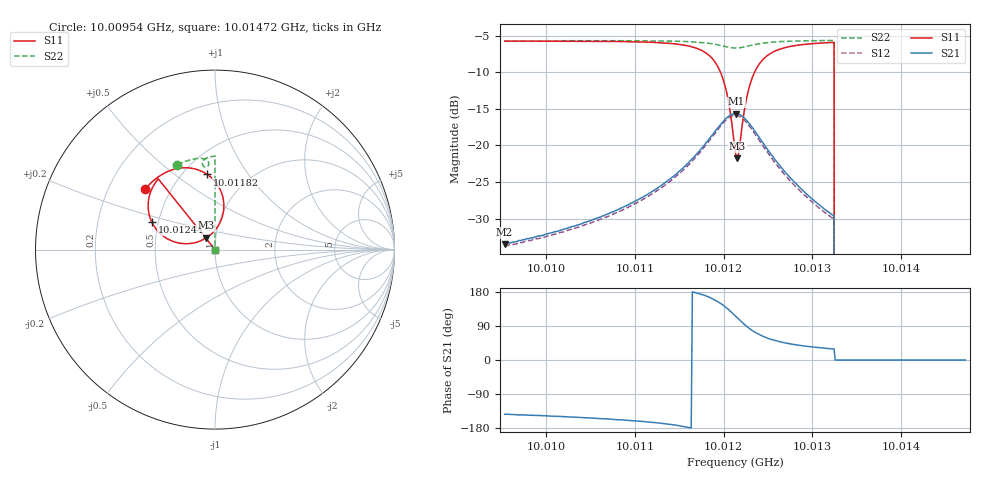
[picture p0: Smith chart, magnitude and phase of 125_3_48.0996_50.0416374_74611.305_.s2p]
#  HZ  S  RI  R  50.00
! Rohde & Schwarz Vector Network Analyzer
! Rohde-Schwarz,ZNB20-2Port,1311601062101988,3.16
! Created: UTC 12/23/2023, 3:47:11 AM
! freq[Hz]  re:S11  im:S11  re:S21  im:S21  re:S12  im:S12  re:S22  im:S22
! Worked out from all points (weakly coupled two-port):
!   401 points, 10.00954 GHz to 10.01472 GHz, reference 50 ohm
!   highest |S21| = -15.66 dB at 10.01214 GHz (marker M1); lowest = -33.5 dB at 10.00954 GHz (marker M2)
!   lowest |S11| = -21.8 dB at 10.01215 GHz (marker M3), VSWR 1.18, Z = 45 + j5.96 ohm
!   |S11| at or under -10 dB: 10.01197 GHz to 10.01235 GHz (384 kHz wide, 0.00383 % of centre); 10.01324 GHz to end of sweep
!   |S22| runs from - to -5.7 dB; largest |S21 - S12| = 0.0082
!   S11 on the Smith chart (normalised r, x): 10.00954 GHz: 0.36, +0.33; 10.01182 GHz: 0.65, +0.66; 10.01244 GHz: 0.46, +0.17; 10.01472 GHz: 1.00, +0.00
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1.0009535e10  -0.3894 0.337  -0.017 -0.0126  -0.0159 -0.013  -0.2096 0.4738
1.0010404e10  -0.3344 0.3913  -0.0257 -0.0137  -0.0242 -0.0145  -0.1554 0.495
1.0011273e10  -0.2323 0.4465  -0.0505 -0.0123  -0.048 -0.0143  -0.0941 0.5082
1.0011571e10  -0.1563 0.4559  -0.0727 -0.00456  -0.0698 -0.00803  -0.0684 0.5075
1.0011818e10  -0.0436 0.4188  -0.1044 0.0225  -0.1022 0.0169  -0.0445 0.4975
1.0011921e10  0.0166 0.3565  -0.1174 0.0527  -0.1168 0.0451  -0.0364 0.487
1.0011999e10  0.0471 0.274  -0.1187 0.0858  -0.1196 0.0785  -0.0348 0.4755
1.0012064e10  0.0402 0.1821  -0.1052 0.1191  -0.1075 0.1122  -0.039 0.4658
1.0012129e10  -0.014 0.0929  -0.075 0.1467  -0.0789 0.14  -0.0485 0.4601
1.0012142e10  -0.0308 0.0781  -0.0671 0.1505  -0.0716 0.1436  -0.0507 0.4597
1.0012155e10  -0.048 0.0658  -0.0595 0.1533  -0.0635 0.1469  -0.0531 0.4597
1.0012181e10  -0.0869 0.0463  -0.0436 0.1565  -0.0471 0.1505  -0.0575 0.4606
1.0012233e10  -0.1683 0.0329  -0.0114 0.1537  -0.0161 0.1482  -0.065 0.4656
1.0012284e10  -0.239 0.0476  0.0142 0.1417  0.00917 0.1369  -0.0692 0.473
1.0012349e10  -0.3039 0.0883  0.0348 0.121  0.0295 0.1172  -0.07 0.483
1.001244e10  -0.3521 0.1538  0.0476 0.0934  0.0424 0.0906  -0.0653 0.4945
1.0012686e10  -0.3694 0.2814  0.0466 0.0473  0.0424 0.047  -0.0444 0.5111
1.0012998e10  -0.3408 0.3593  0.0356 0.0245  0.0326 0.0249  -0.0185 0.5187
1.0013218e10  -0.3188 0.3911  0.0293 0.0166  0.027 0.0173  -0.00168 0.5208
1.0013283e10  0 0  0 0  0 0  0 0
1.0013866e10  0 0  0 0  0 0  0 0
1.0014722e10  0 0  0 0  0 0  0 0
